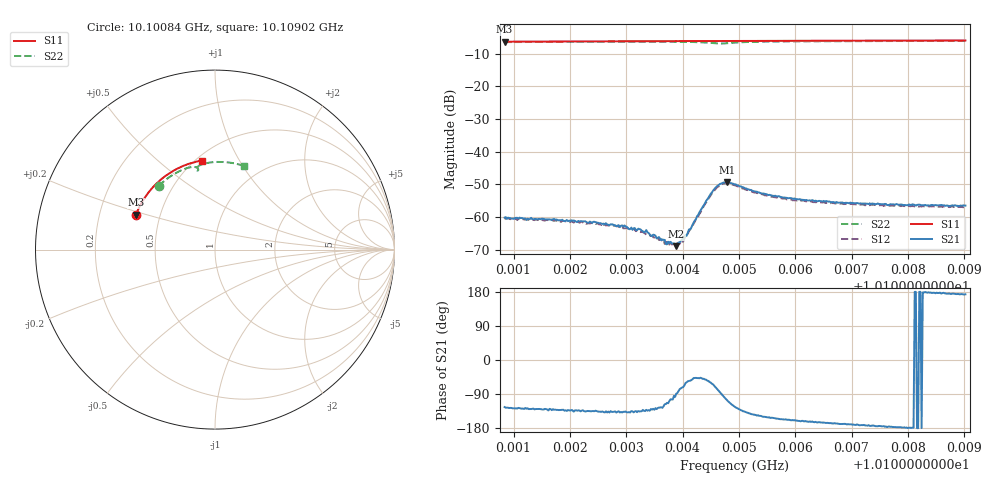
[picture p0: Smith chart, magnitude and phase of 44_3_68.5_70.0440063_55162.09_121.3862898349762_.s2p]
#  HZ  S  RI  R  50.00
! Rohde & Schwarz Vector Network Analyzer
! Rohde-Schwarz,ZNB20-2Port,1311601062101988,3.16
! Created: UTC 3/20/2024, 5:05:43 PM
! freq[Hz]  re:S11  im:S11  re:S21  im:S21  re:S12  im:S12  re:S22  im:S22
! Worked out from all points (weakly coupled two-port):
!   401 points, 10.10084 GHz to 10.10902 GHz, reference 50 ohm
!   highest |S21| = -49.33 dB at 10.10479 GHz (marker M1); lowest = -68.8 dB at 10.10389 GHz (marker M2)
!   lowest |S11| = -6.4 dB at 10.10084 GHz (marker M3), VSWR 2.85, Z = 18.2 + j9.2 ohm
!   |S11| at or under -10 dB: nowhere
!   |S22| runs from -6.9 to -6.1 dB; largest |S21 - S12| = 0.00035
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1.0100842e10  -0.4402 0.1942  -0.000555 -0.000815  -0.000462 -0.000807  -0.3134 0.3551
1.0101639e10  -0.4207 0.2388  -0.000582 -0.00072  -0.000519 -0.000717  -0.2745 0.389
1.0102212e10  -0.404 0.2694  -0.000594 -0.000628  -0.000552 -0.000659  -0.2442 0.4107
1.0102968e10  -0.3788 0.3077  -0.000548 -0.000512  -0.000459 -0.000499  -0.2008 0.4356
1.0103071e10  -0.375 0.3127  -0.000491 -0.000437  -0.000461 -0.000494  -0.1947 0.4387
1.0103255e10  -0.3681 0.3214  -0.000464 -0.000457  -0.000393 -0.000444  -0.1833 0.4437
1.0103582e10  -0.3555 0.3367  -0.000288 -0.000405  -0.000247 -0.000374  -0.1623 0.4521
1.0103725e10  -0.3497 0.3433  -0.000151 -0.000355  -0.000156 -0.000374  -0.1525 0.4552
1.0103889e10  -0.343 0.3506  6.72e-06 -0.000361  3.26e-05 -0.000382  -0.1408 0.4583
1.010397e10  -0.3395 0.3544  0.000114 -0.000423  0.000145 -0.000399  -0.1347 0.4594
1.0104032e10  -0.337 0.3568  0.000189 -0.000458  0.000228 -0.000407  -0.1298 0.4603
1.0104113e10  -0.3335 0.3605  0.00037 -0.000533  0.000387 -0.000474  -0.1234 0.461
1.010442e10  -0.3202 0.3733  0.0011 -0.00141  0.00113 -0.00124  -0.0984 0.4549
1.0104563e10  -0.3137 0.379  0.00101 -0.00249  0.00115 -0.00226  -0.0929 0.4451
1.0104666e10  -0.3091 0.3833  0.000242 -0.00321  0.000545 -0.00304  -0.0961 0.44
1.0104788e10  -0.3038 0.3882  -0.00093 -0.00329  -0.000608 -0.0032  -0.1023 0.4435
1.0104931e10  -0.297 0.3938  -0.00177 -0.00263  -0.00146 -0.00269  -0.1014 0.4543
1.0105218e10  -0.2837 0.4045  -0.00208 -0.00159  -0.00181 -0.00169  -0.0843 0.4699
1.0105545e10  -0.2675 0.4163  -0.00194 -0.00105  -0.00176 -0.00114  -0.0614 0.479
1.0106301e10  -0.2288 0.4408  -0.00174 -0.000556  -0.00159 -0.000646  -0.00993 0.4873
1.0107672e10  -0.1536 0.4753  -0.00154 -0.000117  -0.00148 -0.000224  0.0793 0.485
1.0109021e10  -0.0749 0.4963  -0.00149 0.000175  -0.00139 -6.19e-06  0.1636 0.4662
